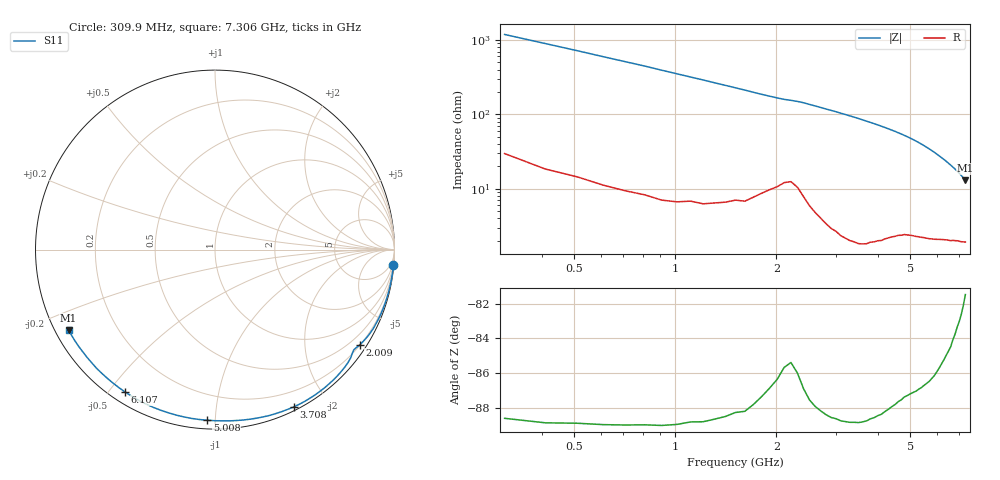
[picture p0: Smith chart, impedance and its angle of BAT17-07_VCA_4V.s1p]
! Infineon Technologies  Discrete & RF Semiconductors
! BAT17-07
! VCA = 4 V
! One-Port S-Parameters
# Hz  S  MA  R  50
!f  S11
!Hz  Mag  Ang
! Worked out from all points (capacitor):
!   71 points, 309.9 MHz to 7.306 GHz, reference 50 ohm
!   read as one part to ground: C = 434 fF near 309.9 MHz
!   lowest |Z| = 12.9 ohm at 7.306 GHz (marker M1)
!   S11 on the Smith chart (normalised r, x): 309.9 MHz: 1, -24; 2.009 GHz: 0.21, -3.32; 3.708 GHz: 0.04, -1.62; 5.008 GHz: 0.05, -0.95; 6.107 GHz: 0.04, -0.55; 7.306 GHz: 0.04, -0.26
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3.0985e8  0.9979 -4.8
8.096e8  0.9959 -12.8
1.2094e9  0.9928 -19.6
1.6092e9  0.9858 -26.5
1.8091e9  0.9767 -30.1
2.009e9  0.9654 -33.4
2.10895e9  0.9575 -34.9
2.2089e9  0.9537 -35.9
2.30885e9  0.9586 -37.0
2.4088e9  0.9667 -38.5
2.50875e9  0.9724 -40.4
2.70865e9  0.9777 -44.1
3.0085e9  0.9814 -49.6
3.4083e9  0.9825 -57.3
3.70815e9  0.9802 -63.4
3.8081e9  0.978 -65.4
4.2079e9  0.97 -73.9
4.50775e9  0.9626 -80.6
4.70765e9  0.9576 -85.3
5.0075e9  0.9518 -92.6
5.30735e9  0.9482 -100.4
5.6072e9  0.9447 -108.6
5.90705e9  0.9413 -116.8
6.10695e9  0.9382 -122.3
6.30685e9  0.9358 -127.6
6.50675e9  0.9343 -132.7
6.90655e9  0.9311 -142.2
7.30635e9  0.9307 -151.3
